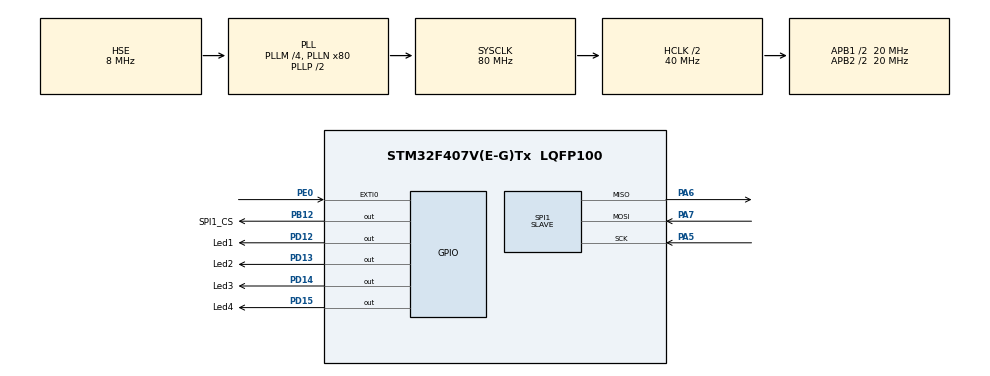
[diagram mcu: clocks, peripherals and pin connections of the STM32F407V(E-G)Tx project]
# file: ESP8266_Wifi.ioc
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Mcu.Family=STM32F4
Mcu.Name=STM32F407V(E-G)Tx
Mcu.Package=LQFP100
NVIC.EXTI0_IRQn=true\:0\:0\:false\:false\:true\:true\:true
NVIC.PriorityGroup=NVIC_PRIORITYGROUP_4
NVIC.SPI1_IRQn=true\:0\:0\:false\:false\:true\:true\:true
PA5.Mode=Full_Duplex_Slave
PA5.Signal=SPI1_SCK
PA6.Mode=Full_Duplex_Slave
PA6.Signal=SPI1_MISO
PA7.Mode=Full_Duplex_Slave
PA7.Signal=SPI1_MOSI
PB12.GPIO_Label=SPI1_CS
PB12.Signal=GPIO_Output
PD12.GPIO_Label=Led1
PD12.Signal=GPIO_Output
PD13.GPIO_Label=Led2
PD13.Signal=GPIO_Output
PD14.GPIO_Label=Led3
PD14.Signal=GPIO_Output
PD15.GPIO_Label=Led4
PD15.Signal=GPIO_Output
PE0.Signal=GPXTI0
PH0-OSC_IN.Mode=HSE-External-Oscillator
PH0-OSC_IN.Signal=RCC_OSC_IN
PH1-OSC_OUT.Mode=HSE-External-Oscillator
PH1-OSC_OUT.Signal=RCC_OSC_OUT
ProjectManager.HeapSize=0x200
ProjectManager.StackSize=0x400
ProjectManager.TargetToolchain=MDK-ARM V5.27
RCC.48MHZClocksFreq_Value=40000000
RCC.AHBCLKDivider=RCC_SYSCLK_DIV2
RCC.AHBFreq_Value=40000000
RCC.APB1CLKDivider=RCC_HCLK_DIV2
RCC.APB1Freq_Value=20000000
RCC.APB1TimFreq_Value=40000000
RCC.APB2CLKDivider=RCC_HCLK_DIV2
RCC.APB2Freq_Value=20000000
RCC.APB2TimFreq_Value=40000000
RCC.CortexFreq_Value=40000000
RCC.HCLKFreq_Value=40000000
RCC.HSE_VALUE=8000000
RCC.HSI_VALUE=16000000
RCC.LSE_VALUE=32768
RCC.PLLM=4
RCC.PLLN=80
RCC.PLLSourceVirtual=RCC_PLLSOURCE_HSE
RCC.SYSCLKFreq_VALUE=80000000
RCC.SYSCLKSource=RCC_SYSCLKSOURCE_PLLCLK
RCC.VCOOutputFreq_Value=160000000
SPI1.Direction=SPI_DIRECTION_2LINES
SPI1.Mode=SPI_MODE_SLAVE
SPI1.VirtualType=VM_SLAVE
board=custom

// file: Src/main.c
/* USER CODE BEGIN Header */
/**
  ******************************************************************************
  * @file           : main.c
  * @brief          : Main program body
  ******************************************************************************
  * @attention
  *
  * <h2><center>&copy; Copyright (c) 2020 STMicroelectronics.
  * All rights reserved.</center></h2>
  *
  * This software component is licensed by ST under BSD 3-Clause license,
  * the "License"; You may not use this file except in compliance with the
  * License. You may obtain a copy of the License at:
  *                        opensource.org/licenses/BSD-3-Clause
  *
  ******************************************************************************
  */
/* USER CODE END Header */

#include "main.h"

/* USER CODE BEGIN Includes */
//#include "ESP8266_HAL.h"
#include "string.h"
#include "stdio.h"
/* USER CODE END Includes */

SPI_HandleTypeDef hspi1;

/* USER CODE BEGIN PV */
uint8_t buff[100];
uint8_t RxBuff[1];
uint8_t On[1]={0x01};
uint8_t Off[1]={0x00};
/* USER CODE END PV */

void SystemClock_Config(void);
static void MX_GPIO_Init(void);
static void MX_SPI1_Init(void);

int main(void)
{

  /* MCU Configuration--------------------------------------------------------*/

  /* Reset of all peripherals, Initializes the Flash interface and the Systick. */
  HAL_Init();

  /* Configure the system clock */
  SystemClock_Config();

  /* Initialize all configured peripherals */
  MX_GPIO_Init();
  MX_SPI1_Init();
  /* USER CODE BEGIN 2 */
//	ESP8266_Init(&hspi1, GPIOB, SPI1_CS_Pin);
//	ESP_Wifi_("BULAT", "elveda54");
	HAL_SPI_Receive_IT(&hspi1,RxBuff, 1);

  /* USER CODE END 2 */

  /* Infinite loop */
  while (1)
  {

    /* USER CODE BEGIN 3 */

	//	while(HAL_SPI_GetState(&hspi1) != HAL_SPI_STATE_READY);

		if(*RxBuff == *On)
		{
			HAL_GPIO_WritePin(GPIOD, Led3_Pin, GPIO_PIN_RESET);
			HAL_Delay(5);
			HAL_GPIO_TogglePin(GPIOD, Led2_Pin);
			HAL_Delay(100);
		}
		else if(*RxBuff == *Off)
		{
			HAL_GPIO_WritePin(GPIOD, Led2_Pin, GPIO_PIN_RESET);
			HAL_Delay(5);
			HAL_GPIO_TogglePin(GPIOD, Led3_Pin);
			HAL_Delay(100);
		}

  }
  /* USER CODE END 3 */
}

void SystemClock_Config(void)
{
  RCC_OscInitTypeDef RCC_OscInitStruct = {0};
  RCC_ClkInitTypeDef RCC_ClkInitStruct = {0};

  /** Configure the main internal regulator output voltage
  */
  __HAL_RCC_PWR_CLK_ENABLE();
  __HAL_PWR_VOLTAGESCALING_CONFIG(PWR_REGULATOR_VOLTAGE_SCALE1);
  /** Initializes the CPU, AHB and APB busses clocks
  */
  RCC_OscInitStruct.OscillatorType = RCC_OSCILLATORTYPE_HSE;
  RCC_OscInitStruct.HSEState = RCC_HSE_ON;
  RCC_OscInitStruct.PLL.PLLState = RCC_PLL_ON;
  RCC_OscInitStruct.PLL.PLLSource = RCC_PLLSOURCE_HSE;
  RCC_OscInitStruct.PLL.PLLM = 4;
  RCC_OscInitStruct.PLL.PLLN = 80;
  RCC_OscInitStruct.PLL.PLLP = RCC_PLLP_DIV2;
  RCC_OscInitStruct.PLL.PLLQ = 4;
  if (HAL_RCC_OscConfig(&RCC_OscInitStruct) != HAL_OK)
  {
    Error_Handler();
  }
  /** Initializes the CPU, AHB and APB busses clocks
  */
  RCC_ClkInitStruct.ClockType = RCC_CLOCKTYPE_HCLK|RCC_CLOCKTYPE_SYSCLK
                              |RCC_CLOCKTYPE_PCLK1|RCC_CLOCKTYPE_PCLK2;
  RCC_ClkInitStruct.SYSCLKSource = RCC_SYSCLKSOURCE_PLLCLK;
  RCC_ClkInitStruct.AHBCLKDivider = RCC_SYSCLK_DIV2;
  RCC_ClkInitStruct.APB1CLKDivider = RCC_HCLK_DIV2;
  RCC_ClkInitStruct.APB2CLKDivider = RCC_HCLK_DIV2;

  if (HAL_RCC_ClockConfig(&RCC_ClkInitStruct, FLASH_LATENCY_1) != HAL_OK)
  {
    Error_Handler();
  }
}

static void MX_SPI1_Init(void)
{

  /* SPI1 parameter configuration*/
  hspi1.Instance = SPI1;
  hspi1.Init.Mode = SPI_MODE_SLAVE;
  hspi1.Init.Direction = SPI_DIRECTION_2LINES;
  hspi1.Init.DataSize = SPI_DATASIZE_8BIT;
  hspi1.Init.CLKPolarity = SPI_POLARITY_LOW;
  hspi1.Init.CLKPhase = SPI_PHASE_1EDGE;
  hspi1.Init.NSS = SPI_NSS_SOFT;
  hspi1.Init.FirstBit = SPI_FIRSTBIT_MSB;
  hspi1.Init.TIMode = SPI_TIMODE_DISABLE;
  hspi1.Init.CRCCalculation = SPI_CRCCALCULATION_DISABLE;
  hspi1.Init.CRCPolynomial = 10;
  if (HAL_SPI_Init(&hspi1) != HAL_OK)
  {
    Error_Handler();
  }

}

static void MX_GPIO_Init(void)
{
  GPIO_InitTypeDef GPIO_InitStruct = {0};

  /* GPIO Ports Clock Enable */
  __HAL_RCC_GPIOH_CLK_ENABLE();
  __HAL_RCC_GPIOA_CLK_ENABLE();
  __HAL_RCC_GPIOB_CLK_ENABLE();
  __HAL_RCC_GPIOD_CLK_ENABLE();
  __HAL_RCC_GPIOE_CLK_ENABLE();

  /*Configure GPIO pin Output Level */
  HAL_GPIO_WritePin(SPI1_CS_GPIO_Port, SPI1_CS_Pin, GPIO_PIN_RESET);

  /*Configure GPIO pin Output Level */
  HAL_GPIO_WritePin(GPIOD, Led1_Pin|Led2_Pin|Led3_Pin|Led4_Pin, GPIO_PIN_RESET);

  /*Configure GPIO pin : SPI1_CS_Pin */
  GPIO_InitStruct.Pin = SPI1_CS_Pin;
  GPIO_InitStruct.Mode = GPIO_MODE_OUTPUT_PP;
  GPIO_InitStruct.Pull = GPIO_NOPULL;
  GPIO_InitStruct.Speed = GPIO_SPEED_FREQ_LOW;
  HAL_GPIO_Init(SPI1_CS_GPIO_Port, &GPIO_InitStruct);

  /*Configure GPIO pins : Led1_Pin Led2_Pin Led3_Pin Led4_Pin */
  GPIO_InitStruct.Pin = Led1_Pin|Led2_Pin|Led3_Pin|Led4_Pin;
  GPIO_InitStruct.Mode = GPIO_MODE_OUTPUT_PP;
  GPIO_InitStruct.Pull = GPIO_NOPULL;
  GPIO_InitStruct.Speed = GPIO_SPEED_FREQ_LOW;
  HAL_GPIO_Init(GPIOD, &GPIO_InitStruct);

  /*Configure GPIO pin : PE0 */
  GPIO_InitStruct.Pin = GPIO_PIN_0;
  GPIO_InitStruct.Mode = GPIO_MODE_IT_RISING;
  GPIO_InitStruct.Pull = GPIO_NOPULL;
  HAL_GPIO_Init(GPIOE, &GPIO_InitStruct);

  /* EXTI interrupt init*/
  HAL_NVIC_SetPriority(EXTI0_IRQn, 0, 0);
  HAL_NVIC_EnableIRQ(EXTI0_IRQn);

}

/* USER CODE BEGIN 4 */
void HAL_SPI_RxCpltCallback(SPI_HandleTypeDef *hspi)
{
  /* Prevent unused argument(s) compilation warning */
  UNUSED(hspi);

  /* NOTE : This function should not be modified, when the callback is needed,
            the HAL_SPI_RxCpltCallback should be implemented in the user file
   */
	if(hspi->Instance==hspi1.Instance)
	{
		HAL_SPI_Receive_IT(&hspi1, RxBuff, 1);
		HAL_GPIO_TogglePin(GPIOD, Led1_Pin);
	}
}
/* USER CODE END 4 */

void Error_Handler(void)
{
}

/************************ (C) COPYRIGHT STMicroelectronics *****END OF FILE****/
